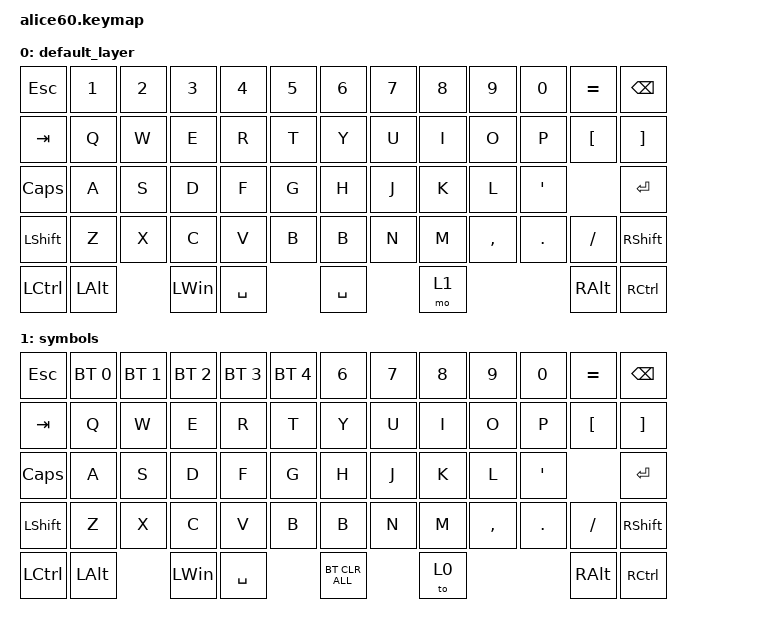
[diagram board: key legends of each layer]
/*
 * Copyright (c) 2020 The ZMK Contributors
 *
 * SPDX-License-Identifier: MIT
 */

#include <behaviors.dtsi>
#include <dt-bindings/zmk/keys.h>
#include <dt-bindings/zmk/rgb.h>
#include <dt-bindings/zmk/bt.h>
#include <dt-bindings/zmk/outputs.h>
#include <dt-bindings/zmk/ext_power.h>
#include <dt-bindings/zmk/mouse.h>

/ {
	keymap {
		compatible = "zmk,keymap";

		default_layer {
                        // | ESC   |   1   |   2   |   3   |   4   |   5   |   6   |              |   7   |   8   |   9   |   0   |   =   |   BS    |
                        // | TAB   |   Q   |   W   |   E   |   R   |   T   |                      |   Y   |   U   |   I   |   O   |   P   |   [     |   ]    |
                        // | CAPS  |   A   |   S   |   D   |   F   |   G   |                      |   H   |   J   |   K   |   L   |   ,   |   Ent   |
                        // | LSht  |   Z   |   X   |   C   |   V   |   B   |                      |   B   |   N   |   M   |   <   |   >   |   /     |  RSht  |
                        // | LCTRL |  LAlt |       |  LWin |     SPACE     |                      |     SPACE     | MO(1) |               |   RAlt  |  RCTRL |
                  bindings = <
                        &kp ESC     &kp N1        &kp N2          &kp N3         &kp N4         &kp N5         &kp N6      &kp N7      &kp N8      &kp N9      &kp N0      &kp EQUAL       &kp BSPC
                        &kp TAB     &kp Q         &kp W           &kp E          &kp R          &kp T          &kp Y       &kp U       &kp I       &kp O       &kp P       &kp LBKT        &kp RBKT
                        &kp CAPS    &kp A         &kp S           &kp D          &kp F          &kp G          &kp H       &kp J       &kp K       &kp L       &kp SQT                     &kp ENTER
                        &kp LSHFT   &kp Z         &kp X           &kp C          &kp V          &kp B          &kp B       &kp N       &kp M       &kp COMMA   &kp DOT     &kp FSLH        &kp RSHFT
                        &kp LCTRL   &kp LALT                      &kp LWIN       &kp SPACE                     &kp SPACE               &mo 1                               &kp RALT        &kp RCTRL
                  >;
		};
            
		symbols {
                  bindings = <
                        &kp ESC     &bt BT_SEL 0  &bt BT_SEL 1    &bt BT_SEL 2   &bt BT_SEL 3   &bt BT_SEL 4   &kp N6      &kp N7      &kp N8      &kp N9      &kp N0      &kp EQUAL       &kp BSPC
                        &kp TAB     &kp Q         &kp W           &kp E          &kp R          &kp T          &kp Y       &kp U       &kp I       &kp O       &kp P       &kp LBKT        &kp RBKT
                        &kp CAPS    &kp A         &kp S           &kp D          &kp F          &kp G          &kp H       &kp J       &kp K       &kp L       &kp SQT                     &kp ENTER
                        &kp LSHFT   &kp Z         &kp X           &kp C          &kp V          &kp B          &kp B       &kp N       &kp M       &kp COMMA   &kp DOT     &kp FSLH        &kp RSHFT
                        &kp LCTRL   &kp LALT                      &kp LWIN       &kp SPACE                     &bt BT_CLR_ALL          &to 0                               &kp RALT        &kp RCTRL
                  >;
		};
	};
};
